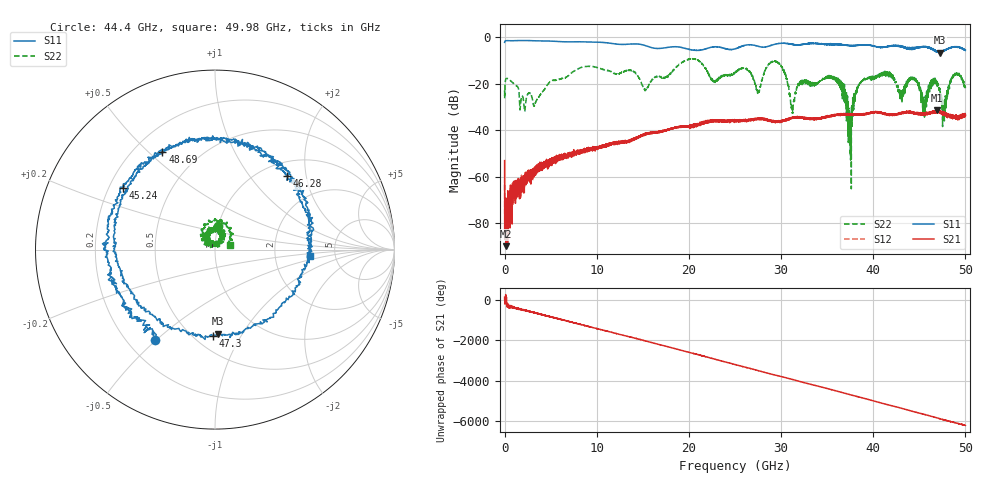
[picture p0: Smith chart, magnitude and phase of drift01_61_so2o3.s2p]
!Created with skrf (http://scikit-rf.org).
# Hz S RI R 50.0
!freq ReS11 ImS11 ReS21 ImS21 ReS12 ImS12 ReS22 ImS22
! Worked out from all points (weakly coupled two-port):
!   10001 points, 300 kHz to 50 GHz, reference 50 ohm
!   highest |S21| = -31.43 dB at 46.87 GHz (marker M1); lowest = -89.9 dB at 160.3 MHz (marker M2)
!   lowest |S11| = -6.6 dB at 47.28 GHz (marker M3), VSWR 2.76, Z = 33 - j39.6 ohm
!   |S11| at or under -10 dB: nowhere
!   |S22| runs from -65.2 to -9.2 dB; largest |S21 - S12| = 0.0034
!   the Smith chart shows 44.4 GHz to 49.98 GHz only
!   S11 on the Smith chart (normalised r, x): 44.4 GHz: 0.31, -0.49; 45.24 GHz: 0.26, +0.28; 46.28 GHz: 1.28, +1.56; 47.3 GHz: 0.61, -0.77; 48.69 GHz: 0.31, +0.55; 49.98 GHz: 3.21, -0.33
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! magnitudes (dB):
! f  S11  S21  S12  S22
! 300 kHz  -2.2  -53.1  -63.4  -22.8
! 160.3 MHz  -1.5  -89.9  -79.2  -17.8
! 3.29 GHz  -1.5  -56.2  -56.6  -28.8
! 8.335 GHz  -1.9  -48.8  -49.2  -12.9
! 16.67 GHz  -4.8  -40.7  -40.7  -16.7
! 25 GHz  -5.0  -36.1  -35.6  -15.3
! 29.58 GHz  -2.8  -36.1  -36.1  -10.7
! 31.23 GHz  -3.0  -34.5  -34.6  -32.0
! 33.34 GHz  -2.6  -35.2  -35.0  -20.5
! 36.13 GHz  -3.1  -33.4  -33.4  -18.7
! 37.47 GHz  -3.6  -33.2  -33.2  -32.4
! 38.65 GHz  -3.3  -33.3  -33.1  -19.5
! 41.67 GHz  -3.8  -33.1  -33.2  -16.1
! 44.4 GHz  -4.4  -32.5  -32.8  -17.6
! 45.24 GHz  -4.2  -33.3  -32.8  -27.6
! 46.28 GHz  -4.8  -32.6  -32.2  -20.4
! 46.87 GHz  -6.0  -31.4  -31.8  -19.3
! 47.28 GHz  -6.6  -32.0  -32.0  -24.1
! 47.3 GHz  -6.3  -32.1  -32.2  -25.3
! 48.69 GHz  -4.2  -34.8  -34.2  -16.3
! 49.98 GHz  -5.5  -33.4  -33.2  -20.9
! 50 GHz  -5.5  -33.3  -33.5  -21.4
